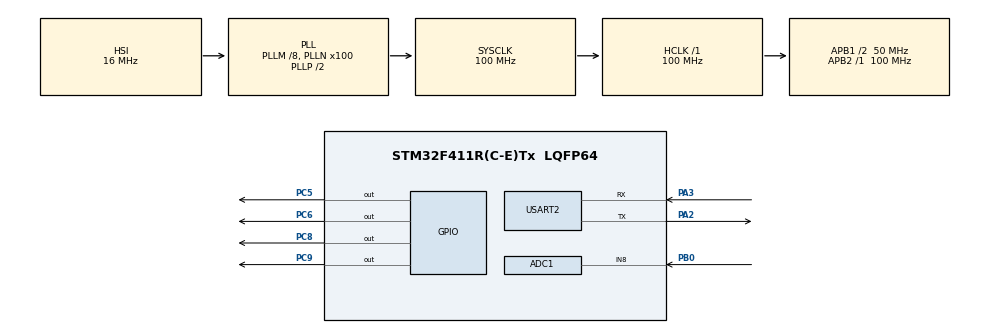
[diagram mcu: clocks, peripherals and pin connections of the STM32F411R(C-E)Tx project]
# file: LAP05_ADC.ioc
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ADC1.Channel-0\#ChannelRegularConversion=ADC_CHANNEL_8
ADC1.ContinuousConvMode=ENABLE
ADC1.EOCSelection=ADC_EOC_SEQ_CONV
ADC1.NbrOfConversionFlag=1
ADC1.Rank-0\#ChannelRegularConversion=1
ADC1.SamplingTime-0\#ChannelRegularConversion=ADC_SAMPLETIME_3CYCLES
ADC1.master=1
Mcu.Family=STM32F4
Mcu.Name=STM32F411R(C-E)Tx
Mcu.Package=LQFP64
NVIC.PriorityGroup=NVIC_PRIORITYGROUP_0
PA2.Mode=Asynchronous
PA2.Signal=USART2_TX
PA3.Mode=Asynchronous
PA3.Signal=USART2_RX
PB0.Signal=ADCx_IN8
PC5.Signal=GPIO_Output
PC6.Signal=GPIO_Output
PC8.Signal=GPIO_Output
PC9.Signal=GPIO_Output
ProjectManager.HeapSize=0x200
ProjectManager.StackSize=0x400
ProjectManager.TargetToolchain=MDK-ARM V5.27
RCC.48MHZClocksFreq_Value=50000000
RCC.AHBFreq_Value=100000000
RCC.APB1CLKDivider=RCC_HCLK_DIV2
RCC.APB1Freq_Value=50000000
RCC.APB1TimFreq_Value=100000000
RCC.APB2Freq_Value=100000000
RCC.APB2TimFreq_Value=100000000
RCC.CortexFreq_Value=100000000
RCC.FLatency-AdvancedSettings=FLASH_LATENCY_3
RCC.HCLKFreq_Value=100000000
RCC.HSE_VALUE=8000000
RCC.HSI_VALUE=16000000
RCC.LSE_VALUE=32768
RCC.PLLM=8
RCC.PLLN=100
RCC.SYSCLKFreq_VALUE=100000000
RCC.SYSCLKSource=RCC_SYSCLKSOURCE_PLLCLK
RCC.VCOOutputFreq_Value=200000000
SH.ADCx_IN8.0=ADC1_IN8,IN8
USART2.VirtualMode=VM_ASYNC
board=NUCLEO-F411RE

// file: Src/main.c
/* USER CODE BEGIN Header */
/**
  ******************************************************************************
  * @file           : main.c
  * @brief          : Main program body
  ******************************************************************************
  * @attention
  *
  * <h2><center>&copy; Copyright (c) 2020 STMicroelectronics.
  * All rights reserved.</center></h2>
  *
  * This software component is licensed by ST under BSD 3-Clause license,
  * the "License"; You may not use this file except in compliance with the
  * License. You may obtain a copy of the License at:
  *                        opensource.org/licenses/BSD-3-Clause
  *
  ******************************************************************************
  */
/* USER CODE END Header */

#include "main.h"
#include "adc.h"
#include "usart.h"
#include "gpio.h"

/* USER CODE BEGIN Includes */
#include "stdio.h"
#include "string.h"
/* USER CODE END Includes */

/* USER CODE BEGIN PV */
uint32_t adc_val = 0x0;
char str[20];
float f;
float voltage;
/* USER CODE END PV */

void SystemClock_Config(void);
/* USER CODE BEGIN PFP */
void displayHEX(uint32_t);
void uart_send_msg(char str[]);
void displayLED(int);
/* USER CODE END PFP */

int main(void)
{

  /* MCU Configuration--------------------------------------------------------*/

  /* Reset of all peripherals, Initializes the Flash interface and the Systick. */
  HAL_Init();

  /* Configure the system clock */
  SystemClock_Config();

  /* Initialize all configured peripherals */
  MX_GPIO_Init();
  MX_ADC1_Init();
  MX_USART2_UART_Init();
  /* USER CODE BEGIN 2 */
	HAL_ADC_Start(&hadc1);

  /* USER CODE END 2 */

  /* Infinite loop */
  while (1)
  {

    /* USER CODE BEGIN 3 */
			while ( HAL_ADC_PollForConversion(&hadc1, 100) != HAL_OK ){}
			adc_val = HAL_ADC_GetValue(&hadc1);
			displayHEX(adc_val);
  }
  /* USER CODE END 3 */
}

void SystemClock_Config(void)
{
  RCC_OscInitTypeDef RCC_OscInitStruct = {0};
  RCC_ClkInitTypeDef RCC_ClkInitStruct = {0};

  /** Configure the main internal regulator output voltage
  */
  __HAL_RCC_PWR_CLK_ENABLE();
  __HAL_PWR_VOLTAGESCALING_CONFIG(PWR_REGULATOR_VOLTAGE_SCALE1);
  /** Initializes the CPU, AHB and APB busses clocks
  */
  RCC_OscInitStruct.OscillatorType = RCC_OSCILLATORTYPE_HSI;
  RCC_OscInitStruct.HSIState = RCC_HSI_ON;
  RCC_OscInitStruct.HSICalibrationValue = RCC_HSICALIBRATION_DEFAULT;
  RCC_OscInitStruct.PLL.PLLState = RCC_PLL_ON;
  RCC_OscInitStruct.PLL.PLLSource = RCC_PLLSOURCE_HSI;
  RCC_OscInitStruct.PLL.PLLM = 8;
  RCC_OscInitStruct.PLL.PLLN = 100;
  RCC_OscInitStruct.PLL.PLLP = RCC_PLLP_DIV2;
  RCC_OscInitStruct.PLL.PLLQ = 4;
  if (HAL_RCC_OscConfig(&RCC_OscInitStruct) != HAL_OK)
  {
    Error_Handler();
  }
  /** Initializes the CPU, AHB and APB busses clocks
  */
  RCC_ClkInitStruct.ClockType = RCC_CLOCKTYPE_HCLK|RCC_CLOCKTYPE_SYSCLK
                              |RCC_CLOCKTYPE_PCLK1|RCC_CLOCKTYPE_PCLK2;
  RCC_ClkInitStruct.SYSCLKSource = RCC_SYSCLKSOURCE_PLLCLK;
  RCC_ClkInitStruct.AHBCLKDivider = RCC_SYSCLK_DIV1;
  RCC_ClkInitStruct.APB1CLKDivider = RCC_HCLK_DIV2;
  RCC_ClkInitStruct.APB2CLKDivider = RCC_HCLK_DIV1;

  if (HAL_RCC_ClockConfig(&RCC_ClkInitStruct, FLASH_LATENCY_3) != HAL_OK)
  {
    Error_Handler();
  }
}

/* USER CODE BEGIN 4 */
void displayHEX(uint32_t value)
{
	memcpy(&f, &value, sizeof(float));
	char vin, htd;
	voltage = value*3.3/4096; //calculate voltage from value
	int level = voltage;
	//strcat(&str, "0x00000");
	sprintf(str, "0x%010X", value); //convert value to Heximal value
	//strcat(&str, &htd);
	sprintf(&vin, "%.2f", voltage);
	displayLED(level);
	uart_send_msg("ADC1_CH10 ");
	uart_send_msg(str);
	uart_send_msg(" Vin = ");
	uart_send_msg(&vin);
	uart_send_msg(" v\n\r");
	HAL_Delay(400);
}

void uart_send_msg(char str[])
{
	while(__HAL_UART_GET_FLAG(&huart2, UART_FLAG_TC) == RESET){}
	HAL_UART_Transmit(&huart2, (uint8_t*)str, strlen(str),1000);
	HAL_Delay(100);
}

void displayLED(int level)
{
	if(level < 1)
	{HAL_GPIO_WritePin(GPIOC, GPIO_PIN_5|GPIO_PIN_6|GPIO_PIN_8|GPIO_PIN_9, GPIO_PIN_SET);}
	else if(level < 2)
	{
		HAL_GPIO_WritePin(GPIOC, GPIO_PIN_5, GPIO_PIN_RESET);
		HAL_GPIO_WritePin(GPIOC, GPIO_PIN_6|GPIO_PIN_8|GPIO_PIN_9, GPIO_PIN_SET);
	}
	else if(level < 3)
	{
		HAL_GPIO_WritePin(GPIOC, GPIO_PIN_5|GPIO_PIN_6, GPIO_PIN_RESET);
		HAL_GPIO_WritePin(GPIOC, GPIO_PIN_8|GPIO_PIN_9, GPIO_PIN_SET);
	}
	else if(level < 4)
	{
		HAL_GPIO_WritePin(GPIOC, GPIO_PIN_5|GPIO_PIN_6|GPIO_PIN_8, GPIO_PIN_RESET);
		HAL_GPIO_WritePin(GPIOC, GPIO_PIN_9, GPIO_PIN_SET);
	}
	else
	{HAL_GPIO_WritePin(GPIOC, GPIO_PIN_5|GPIO_PIN_6|GPIO_PIN_8|GPIO_PIN_9, GPIO_PIN_RESET);}
}
/* USER CODE END 4 */

void Error_Handler(void)
{
}

/************************ (C) COPYRIGHT STMicroelectronics *****END OF FILE****/
